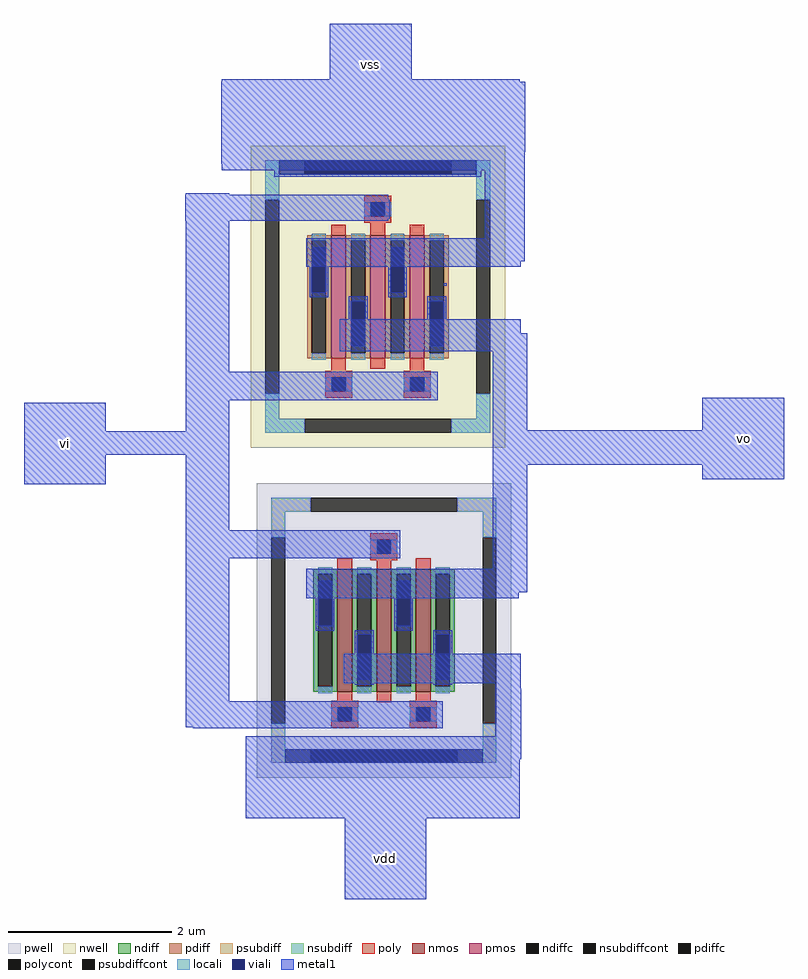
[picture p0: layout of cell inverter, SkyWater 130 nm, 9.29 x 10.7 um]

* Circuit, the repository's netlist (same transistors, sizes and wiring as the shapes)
.subckt inverter vi vo vdd vss
*.PININFO vi:I vo:O vdd:B vss:B
XM1 vo vi vss vss sky130_fd_pr__nfet_01v8 L=0.18 W=4.5 nf=3 ad='int((nf+1)/2) * W/nf * 0.29' as='int((nf+2)/2) * W/nf * 0.29'
+ pd='2*int((nf+1)/2) * (W/nf + 0.29)' ps='2*int((nf+2)/2) * (W/nf + 0.29)' nrd='0.29 / W' nrs='0.29 / W'
+ sa=0 sb=0 sd=0 mult=1 m=1 
XM2 vo vi vdd vdd sky130_fd_pr__pfet_01v8 L=0.18 W=4.5 nf=3 ad='int((nf+1)/2) * W/nf * 0.29' as='int((nf+2)/2) * W/nf * 0.29'
+ pd='2*int((nf+1)/2) * (W/nf + 0.29)' ps='2*int((nf+2)/2) * (W/nf + 0.29)' nrd='0.29 / W' nrs='0.29 / W'
+ sa=0 sb=0 sd=0 mult=1 m=1 
.ends
** flattened .save nodes
.end

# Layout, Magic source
magic
tech sky130A
magscale 1 2
<< metal1 >>
rect 126 2254 326 2390
rect -138 2248 590 2254
rect -140 2076 604 2248
rect -140 2048 602 2076
rect -138 2032 602 2048
rect -226 1972 -120 1976
rect -228 1908 268 1972
rect -226 1540 -120 1908
rect 504 1866 602 2032
rect 68 1810 602 1866
rect 68 1796 592 1810
rect 404 1750 412 1756
rect 150 1634 592 1668
rect 150 1590 608 1634
rect -226 1470 390 1540
rect -622 1394 -422 1464
rect -226 1394 -120 1470
rect -622 1336 -120 1394
rect -622 1264 -422 1336
rect -226 1152 -120 1336
rect 524 1396 608 1590
rect 1036 1396 1236 1476
rect 524 1312 1236 1396
rect -226 1084 298 1152
rect -226 734 -120 1084
rect 524 1058 608 1312
rect 1036 1276 1236 1312
rect 68 1000 608 1058
rect 68 986 588 1000
rect 160 778 592 850
rect 530 764 592 778
rect -226 670 402 734
rect -210 668 402 670
rect 530 648 594 764
rect -80 592 594 648
rect -80 448 590 592
rect 162 250 362 448
use sky130_fd_pr__pfet_01v8_UT24HJ  XM2
transform 1 0 243 0 1 1723
box -311 -369 311 369
use sky130_fd_pr__nfet_01v8_BZBQCZ  XM1
transform 1 0 258 0 1 907
box -311 -360 311 360
<< labels >>
flabel metal1 162 250 362 450 0 FreeSans 256 0 0 0 vdd
port 2 nsew
flabel metal1 126 2190 326 2390 0 FreeSans 256 0 0 0 vss
port 3 nsew
flabel metal1 -622 1264 -422 1464 0 FreeSans 256 0 0 0 vi
port 0 nsew
flabel metal1 1036 1276 1236 1476 0 FreeSans 256 0 0 0 vo
port 1 nsew
<< end >>

# cell sky130_fd_pr__pfet_01v8_UT24HJ: kit device sky130_fd_pr__pfet_01v8, w 1.5 l 0.18 m 1 nf 3 diffcov 100 polycov 100 guard 1 glc 1 grc 1 gtc 1 gbc 1 tbcov 100 rlcov 100 topc 1 botc 1 poverlap 0 doverlap 1 lmin 0.15 wmin 0.42 compatible {sky130_fd_pr__pfet_01v8 sky130_fd_pr__pfet_01v8_lvt sky130_fd_pr__pfet_01v8_hvt sky130_fd_pr__pfet_g5v0d10v5} full_metal 1 viasrc +40 viadrn -40 viagate 100 viagb 0 viagr 0 viagl 0 viagt 100

# cell sky130_fd_pr__nfet_01v8_BZBQCZ: kit device sky130_fd_pr__nfet_01v8, w 1.5 l 0.18 m 1 nf 3 diffcov 100 polycov 100 guard 1 glc 1 grc 1 gtc 1 gbc 1 tbcov 100 rlcov 100 topc 1 botc 1 poverlap 0 doverlap 1 lmin 0.15 wmin 0.42 compatible {sky130_fd_pr__nfet_01v8 sky130_fd_pr__nfet_01v8_lvt sky130_fd_bs_flash__special_sonosfet_star sky130_fd_pr__nfet_g5v0d10v5 sky130_fd_pr__nfet_05v0_nvt sky130_fd_pr__nfet_03v3_nvt} full_metal 1 viasrc +40 viadrn -40 viagate 100 viagb 100 viagr 0 viagl 0 viagt 0
